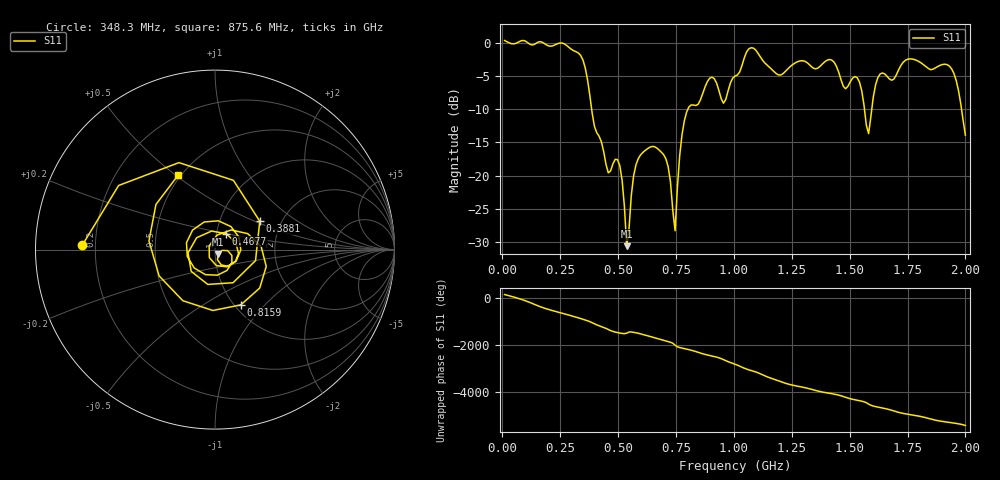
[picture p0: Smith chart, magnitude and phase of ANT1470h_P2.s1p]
!Created with skrf (http://scikit-rf.org).
# Hz S RI R 50.0
!freq ReS11 ImS11
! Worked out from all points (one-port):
!   201 points, 10 MHz to 2 GHz, reference 50 ohm
!   lowest |S11| = -30.6 dB at 537.4 MHz (marker M1), VSWR 1.06, Z = 51.6 - j2.53 ohm
!   |S11| at or under -10 dB: 385.8 MHz to 801.7 MHz (415.9 MHz wide, 70 % of centre); 1.564 GHz to 1.596 GHz (31.71 MHz wide, 2.01 % of centre); 1.983 GHz to end of sweep
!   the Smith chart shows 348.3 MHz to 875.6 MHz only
!   S11 on the Smith chart (normalised r, x): 348.3 MHz: 0.15, +0.02; 388.1 MHz: 1.55, +0.54; 467.7 MHz: 1.11, +0.20; 816 MHz: 1.07, -0.74; 875.6 MHz: 0.48, +0.51
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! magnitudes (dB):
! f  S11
! 10 MHz  0.3
! 258.8 MHz  -0.1
! 348.3 MHz  -2.6
! 388.1 MHz  -10.6
! 467.7 MHz  -19.3
! 507.5 MHz  -18.5
! 537.4 MHz  -30.6
! 567.2 MHz  -20.0
! 597 MHz  -16.9
! 706.5 MHz  -17.5
! 746.3 MHz  -28.3
! 756.2 MHz  -21.8
! 786.1 MHz  -11.8
! 816 MHz  -9.4
! 875.6 MHz  -6.7
! 915.5 MHz  -5.4
! 955.2 MHz  -9.1
! 1.005 GHz  -5.0
! 1.075 GHz  -0.8
! 1.254 GHz  -3.3
! 1.423 GHz  -2.6
! 1.502 GHz  -5.9
! 1.542 GHz  -5.9
! 1.582 GHz  -13.7
! 1.622 GHz  -5.3
! 1.751 GHz  -2.5
! 1.94 GHz  -3.9
! 2 GHz  -13.9
